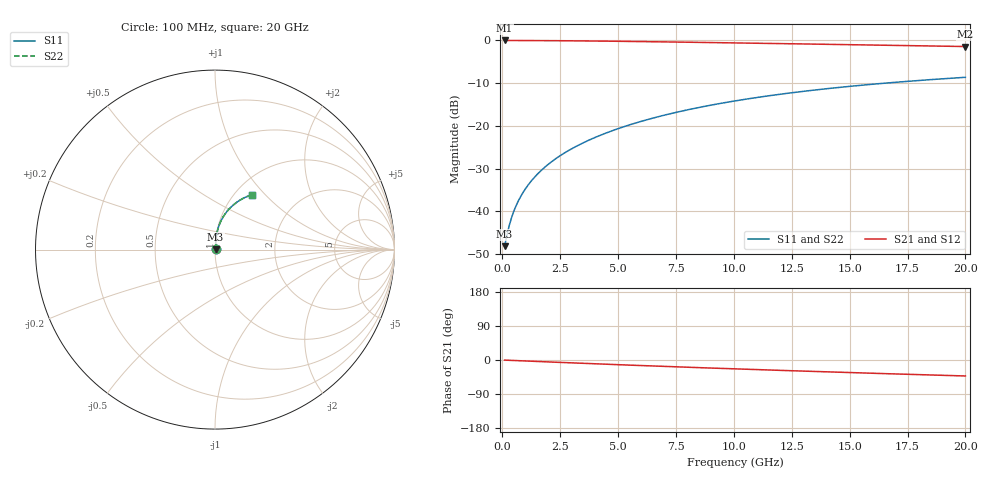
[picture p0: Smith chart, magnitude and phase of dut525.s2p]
! Touchstone file exported from HFSS 2024.1.0
!  File:  C:/UserFiles/LocalFiles/RDL_TSV_Batchsim/temp_RDL_top_525_1779679983.aedt
!  Generated:  11:35:20 AM May 25, 2026
!  Design:  RDL_top
!  Project:  temp_RDL_top_525_1779679983
!  Setup:  Setup1
!  Solution:  Sweep
! Variables:
!  dtsv = 10.80580581um
!  hbump = 3um
!  htsv = 56.09um
!  ldown = 100um
!  lrdl = 610.86um
!  p = 40
!  p1 = 48.03um
!  rhole = 1um
!  t = 450um
!  tdown = 3.915915916um
!  trdl = 3.03um
!  wdown = 15.38538539um
!  wrdl = 22.59um
# GHz S MA R 50.000000
! Terminal data exported
! Port[1] = Box2_T1
! Port[2] = Box2_T2
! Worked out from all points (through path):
!   200 points, 100 MHz to 20 GHz, reference 50 ohm
!   highest |S21| = -0.03 dB at 100 MHz (marker M1); lowest = -1.4 dB at 20 GHz (marker M2)
!   group delay of S21, straight-line fit = 5.81 ps
!   lowest |S11| = -48.1 dB at 100 MHz (marker M3), VSWR 1.01, Z = 50.3 + j0.2 ohm
!   |S11| at or under -10 dB: start of sweep to 16.55 GHz
!   |S22| runs from -48.1 to -8.6 dB; largest |S21 - S12| = 3.4e-15
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0.1  0.003925 30.5  0.9966 -0.3  0.9966 -0.3  0.003925 30.5
! Gamma 0 0 0 0
! Port Impedance 50 0 50 0
0.2  0.005271 48.0  0.9964 -0.5  0.9964 -0.5  0.005271 48.0
0.3  0.006843 57.2  0.9962 -0.8  0.9962 -0.8  0.006843 57.2
0.4  0.008464 62.8  0.996 -1.1  0.996 -1.1  0.008464 62.8
0.5  0.0101 66.7  0.9958 -1.3  0.9958 -1.3  0.0101 66.7
0.6  0.01173 69.5  0.9956 -1.6  0.9956 -1.6  0.01173 69.5
0.8  0.01504 73.5  0.9952 -2.1  0.9952 -2.1  0.01504 73.5
1.1  0.0201 77.3  0.9945 -2.8  0.9945 -2.8  0.0201 77.3
1.3  0.02353 78.9  0.994 -3.3  0.994 -3.3  0.02353 78.9
1.6  0.02875 80.7  0.9931 -4.1  0.9931 -4.1  0.02875 80.7
2.1  0.03761 82.4  0.9914 -5.3  0.9914 -5.3  0.03762 82.4
2.7  0.04852 83.5  0.9888 -6.8  0.9888 -6.8  0.04852 83.5
3.5  0.0635 84.0  0.9845 -8.8  0.9845 -8.8  0.0635 84.0
4.2  0.07699 83.9  0.9802 -10.5  0.9802 -10.5  0.07699 83.9
5  0.09279 83.3  0.9747 -12.4  0.9747 -12.4  0.09279 83.3
6.8  0.1293 81.1  0.9608 -16.5  0.9608 -16.5  0.1293 81.1
8.4  0.1623 78.4  0.9474 -19.9  0.9474 -19.9  0.1623 78.4
10.1  0.1968 75.1  0.9328 -23.5  0.9328 -23.5  0.1968 75.1
11.7  0.2285 71.9  0.9188 -26.8  0.9188 -26.8  0.2285 72.0
13.4  0.2608 68.5  0.9038 -30.1  0.9038 -30.1  0.2608 68.5
16.7  0.3186 62.0  0.8748 -36.3  0.8748 -36.3  0.3187 62.0
20  0.3696 55.9  0.8463 -42.2  0.8463 -42.2  0.3696 55.9
